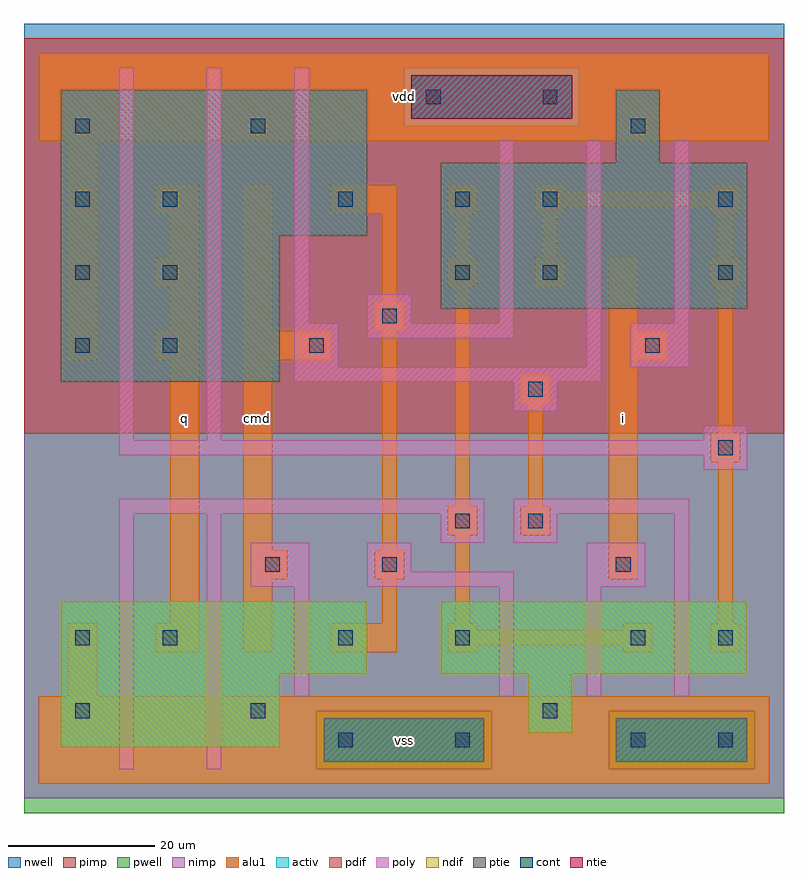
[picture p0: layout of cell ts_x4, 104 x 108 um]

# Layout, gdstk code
import gdstk
lib = gdstk.Library(unit=1e-6, precision=1e-09)
def R(c, l, rs):  # rectangles x0, y0, x1, y1
    for r in rs: c.add(gdstk.rectangle(r[:2], r[2:], *l))
def A(c, l, x, y, w, h, nx, ny, dx, dy):  # array of equal rectangles
    R(c, l, [(x+i*dx, y+j*dy, x+i*dx+w, y+j*dy+h) for i in range(nx) for j in range(ny)])
ndif = (3, 0)
pdif = (4, 0)
ntie = (5, 0)
ptie = (6, 0)
cont = (25, 0)
pwell = (41, 0)
nwell = (42, 0)
activ = (43, 0)
pimp = (44, 0)
nimp = (45, 0)
poly = (46, 0)
alu1 = (49, 0)

ts_x4 = lib.new_cell('ts_x4')
R(ts_x4, ndif, [(3,5,33,15), (67,7,73,15), (3,15,45,25), (55,15,97,25)])
R(ts_x4, pdif, [(3,55,33,75), (55,65,97,85), (3,75,45,95), (79,85,85,95)])
R(ts_x4, ntie, [(51,91,73,97)])
R(ts_x4, ptie, [(39,3,61,9), (79,3,97,9)])
A(ts_x4, cont, 5, 59, 2, 2, 1, 4, 0, 10)
A(ts_x4, cont, 17, 59, 2, 2, 1, 3, 0, 10)
R(ts_x4, cont, [(41,5,43,7), (57,5,59,7), (81,5,83,7), (93,5,95,7), (5,9,7,11), (29,9,31,11), (69,9,71,11), (5,19,7,21), (17,19,19,21), (41,19,43,21), (57,19,59,21), (81,19,83,21), (93,19,95,21), (31,29,33,31), (47,29,49,31), (79,29,81,31), (57,35,59,37), (67,35,69,37), (93,45,95,47), (67,53,69,55), (37,59,39,61), (83,59,85,61), (47,63,49,65), (57,69,59,71), (69,69,71,71), (93,69,95,71), (41,79,43,81), (57,79,59,81), (69,79,71,81), (93,79,95,81), (29,89,31,91), (81,89,83,91), (53,93,55,95), (69,93,71,95)])
R(ts_x4, pwell, [(-2,-4,102,48)])
R(ts_x4, nwell, [(-2,48,102,104)])
R(ts_x4, activ, [(39,3,61,9), (79,3,97,9), (3,5,33,15), (67,7,73,15), (3,15,45,25), (55,15,97,25), (3,55,33,75), (55,65,97,85), (3,75,45,95), (79,85,85,95), (51,91,73,97)])
R(ts_x4, pimp, [(38,2,62,10), (78,2,98,10), (-2,48,102,90), (-2,90,50,98), (74,90,102,98), (-2,98,102,102)])
R(ts_x4, nimp, [(-2,-2,102,2), (-2,2,38,10), (62,2,78,10), (98,2,102,10), (-2,10,102,48), (50,90,74,98)])
R(ts_x4, poly, [(11,2,13,37), (23,2,25,37), (35,12,37,27), (63,12,65,27), (75,12,77,27), (87,12,89,37), (29,27,37,33), (45,27,65,29), (75,27,83,33), (45,29,51,33), (55,33,61,37), (65,33,71,37), (11,37,61,39), (65,37,89,39), (91,43,97,45), (11,45,97,47), (11,47,13,98), (23,47,25,98), (91,47,97,49), (65,51,71,55), (35,55,77,57), (35,57,41,63), (75,57,77,88), (81,57,89,63), (45,61,65,63), (35,63,37,98), (45,63,51,67), (63,63,65,88), (87,63,89,88)])
A(ts_x4, alu1, 16, 58, 6, 4, 1, 3, 0, 10)
R(ts_x4, alu1, [(0,0,100,12), (4,12,8,22), (16,18,22,22), (28,18,32,28), (40,18,49,22), (56,18,60,19), (80,18,84,19), (92,18,96,22), (56,19,84,21), (56,21,60,22), (80,21,84,22), (18,22,22,58), (47,22,49,28), (57,22,59,34), (93,22,95,44), (28,28,34,32), (46,28,50,32), (78,28,82,58), (28,32,32,58), (47,32,49,62), (56,34,60,38), (66,34,70,38), (57,38,59,68), (67,38,69,52), (92,44,96,48), (93,48,95,68), (66,52,70,56), (4,58,8,88), (28,58,40,62), (78,58,86,62), (18,62,22,68), (28,62,32,82), (46,62,50,66), (78,62,82,72), (47,66,49,78), (56,68,60,72), (68,68,72,72), (92,68,96,72), (18,72,22,78), (57,72,59,78), (69,72,71,78), (93,72,95,78), (40,78,49,82), (56,78,60,82), (68,78,72,79), (92,78,96,79), (68,79,96,81), (68,81,72,82), (92,81,96,82), (0,88,100,100)])
ts_x4.add(gdstk.Label('q', (20,50), layer=49, texttype=0))
ts_x4.add(gdstk.Label('cmd', (30,50), layer=49, texttype=0))
ts_x4.add(gdstk.Label('vss', (50,6), layer=49, texttype=0))
ts_x4.add(gdstk.Label('vdd', (50,94), layer=49, texttype=0))
ts_x4.add(gdstk.Label('i', (80,50), layer=49, texttype=0))

lib.write_gds('ts_x4.gds')
